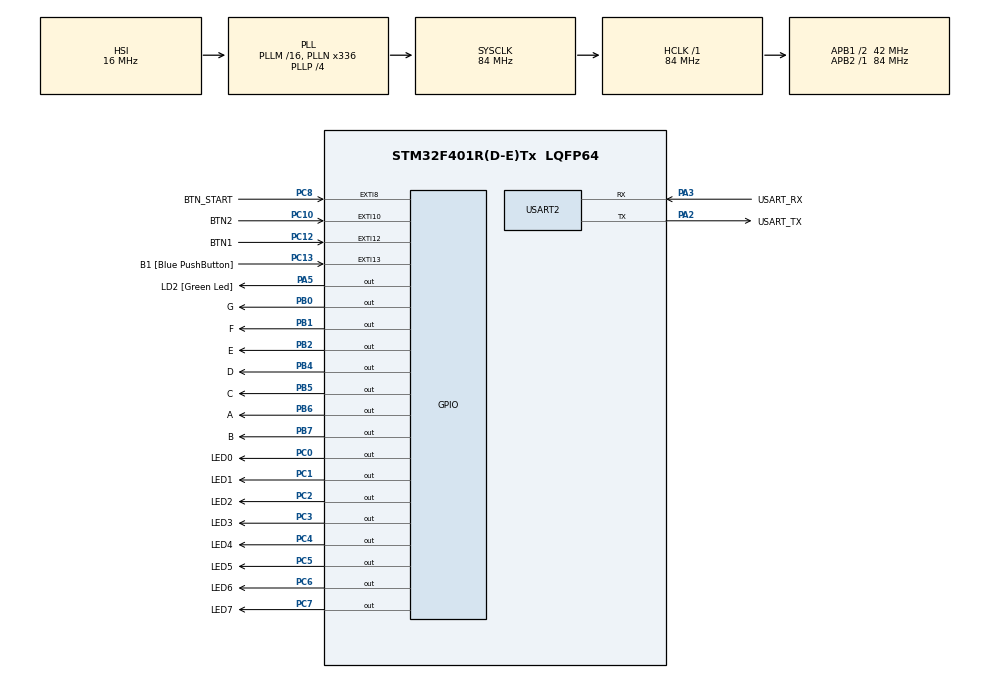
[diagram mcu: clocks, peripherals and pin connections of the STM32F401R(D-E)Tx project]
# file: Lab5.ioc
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Mcu.Family=STM32F4
Mcu.Name=STM32F401R(D-E)Tx
Mcu.Package=LQFP64
NVIC.EXTI15_10_IRQn=true\:0\:0\:false\:false\:true\:true\:true\:true
NVIC.EXTI9_5_IRQn=true\:0\:0\:false\:false\:true\:true\:true\:true
NVIC.PriorityGroup=NVIC_PRIORITYGROUP_4
NVIC.TIM2_IRQn=true\:0\:0\:false\:false\:true\:true\:true\:true
PA13.GPIO_Label=TMS
PA13.Mode=Trace_Asynchronous_SW
PA13.Signal=SYS_JTMS-SWDIO
PA14.GPIO_Label=TCK
PA14.Mode=Trace_Asynchronous_SW
PA14.Signal=SYS_JTCK-SWCLK
PA2.GPIO_Label=USART_TX
PA2.GPIO_Mode=GPIO_MODE_AF_PP
PA2.GPIO_PuPd=GPIO_NOPULL
PA2.GPIO_Speed=GPIO_SPEED_FREQ_LOW
PA2.Mode=Asynchronous
PA2.Signal=USART2_TX
PA3.GPIO_Label=USART_RX
PA3.GPIO_Mode=GPIO_MODE_AF_PP
PA3.GPIO_PuPd=GPIO_NOPULL
PA3.GPIO_Speed=GPIO_SPEED_FREQ_LOW
PA3.Mode=Asynchronous
PA3.Signal=USART2_RX
PA5.GPIO_Label=LD2 [Green Led]
PA5.GPIO_Mode=GPIO_MODE_OUTPUT_PP
PA5.GPIO_PuPd=GPIO_NOPULL
PA5.GPIO_Speed=GPIO_SPEED_FREQ_LOW
PA5.Signal=GPIO_Output
PB0.GPIO_Label=G
PB0.Signal=GPIO_Output
PB1.GPIO_Label=F
PB1.Signal=GPIO_Output
PB2.GPIO_Label=E
PB2.Signal=GPIO_Output
PB3.GPIO_Label=SWO_pt
PB3.Mode=Trace_Asynchronous_SW
PB3.Signal=SYS_JTDO-SWO
PB4.GPIO_Label=D
PB4.Signal=GPIO_Output
PB5.GPIO_Label=C
PB5.Signal=GPIO_Output
PB6.GPIO_Label=A
PB6.Signal=GPIO_Output
PB7.GPIO_Label=B
PB7.Signal=GPIO_Output
PC0.GPIO_Label=LED0
PC0.Signal=GPIO_Output
PC1.GPIO_Label=LED1
PC1.Signal=GPIO_Output
PC10.GPIO_Label=BTN2
PC10.GPIO_ModeDefaultEXTI=GPIO_MODE_IT_FALLING
PC10.GPIO_PuPd=GPIO_PULLUP
PC10.Signal=GPXTI10
PC12.GPIO_Label=BTN1
PC12.GPIO_ModeDefaultEXTI=GPIO_MODE_IT_FALLING
PC12.GPIO_PuPd=GPIO_PULLUP
PC12.Signal=GPXTI12
PC13-ANTI_TAMP.GPIO_Label=B1 [Blue PushButton]
PC13-ANTI_TAMP.GPIO_ModeDefaultEXTI=GPIO_MODE_IT_FALLING
PC13-ANTI_TAMP.GPIO_PuPd=GPIO_PULLUP
PC13-ANTI_TAMP.Signal=GPXTI13
PC14-OSC32_IN.Mode=LSE-External-Oscillator
PC14-OSC32_IN.Signal=RCC_OSC32_IN
PC15-OSC32_OUT.Mode=LSE-External-Oscillator
PC15-OSC32_OUT.Signal=RCC_OSC32_OUT
PC2.GPIO_Label=LED2
PC2.Signal=GPIO_Output
PC3.GPIO_Label=LED3
PC3.Signal=GPIO_Output
PC4.GPIO_Label=LED4
PC4.Signal=GPIO_Output
PC5.GPIO_Label=LED5
PC5.Signal=GPIO_Output
PC6.GPIO_Label=LED6
PC6.Signal=GPIO_Output
PC7.GPIO_Label=LED7
PC7.Signal=GPIO_Output
PC8.GPIO_Label=BTN_START
PC8.GPIO_ModeDefaultEXTI=GPIO_MODE_IT_FALLING
PC8.GPIO_PuPd=GPIO_PULLUP
PC8.Signal=GPXTI8
PH0\ -\ OSC_IN.Mode=HSE-External-Clock-Source
PH0\ -\ OSC_IN.Signal=RCC_OSC_IN
PH1\ -\ OSC_OUT.Mode=HSE-External-Clock-Source
PH1\ -\ OSC_OUT.Signal=RCC_OSC_OUT
ProjectManager.HeapSize=0x200
ProjectManager.StackSize=0x400
ProjectManager.TargetToolchain=STM32CubeIDE
RCC.48MHZClocksFreq_Value=48000000
RCC.AHBFreq_Value=84000000
RCC.APB1CLKDivider=RCC_HCLK_DIV2
RCC.APB1Freq_Value=42000000
RCC.APB1TimFreq_Value=84000000
RCC.APB2Freq_Value=84000000
RCC.APB2TimFreq_Value=84000000
RCC.CortexFreq_Value=84000000
RCC.HCLKFreq_Value=84000000
RCC.HSE_VALUE=8000000
RCC.HSI_VALUE=16000000
RCC.PLLN=336
RCC.PLLP=RCC_PLLP_DIV4
RCC.PLLQ=7
RCC.SYSCLKFreq_VALUE=84000000
RCC.SYSCLKSource=RCC_SYSCLKSOURCE_PLLCLK
RCC.VCOOutputFreq_Value=336000000
TIM2.Period=9999
TIM2.Prescaler=8399
USART2.VirtualMode=VM_ASYNC
VP_TIM2_VS_ClockSourceINT.Mode=Internal
board=NUCLEO-F401RE

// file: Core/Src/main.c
/* USER CODE BEGIN Header */
/**
  ******************************************************************************
  * @file           : main.c
  * @brief          : Main program body
  ******************************************************************************
  * @attention
  *
  * Copyright (c) 2026 STMicroelectronics.
  * All rights reserved.
  *
  * This software is licensed under terms that can be found in the LICENSE file
  * in the root directory of this software component.
  * If no LICENSE file comes with this software, it is provided AS-IS.
  *
  ******************************************************************************
  */
/* USER CODE END Header */
#include "main.h"

/* USER CODE BEGIN Includes */
#include "stdint.h"
/* USER CODE END Includes */

TIM_HandleTypeDef htim2;

UART_HandleTypeDef huart2;

/* USER CODE BEGIN PV */
volatile uint8_t contador1 = 0;
volatile uint8_t contador2 = 0;
volatile uint8_t start_flag=0;
volatile uint8_t count_rf=5;
/* USER CODE END PV */

void SystemClock_Config(void);
static void MX_GPIO_Init(void);
static void MX_USART2_UART_Init(void);
static void MX_TIM2_Init(void);

int main(void)
{

  /* MCU Configuration--------------------------------------------------------*/

  /* Reset of all peripherals, Initializes the Flash interface and the Systick. */
  HAL_Init();

  /* Configure the system clock */
  SystemClock_Config();

  /* Initialize all configured peripherals */
  MX_GPIO_Init();
  MX_USART2_UART_Init();
  MX_TIM2_Init();
  /* USER CODE BEGIN 2 */
  HAL_TIM_Base_Start_IT(&htim2);
  /* USER CODE END 2 */

  /* Infinite loop */
  /* USER CODE BEGIN WHILE */
  while (1)
  {
	  if (start_flag==0){
		  GPIOB->ODR = (GPIOB->ODR & 0xFF00) | 0x73;
	  }

	  else if (start_flag==1){
		  switch(count_rf){
		  case 0:
			  GPIOB->ODR = (GPIOB->ODR & 0xFF00) | 0xF6;
			  break;
		  case 1:
			  GPIOB->ODR = (GPIOB->ODR & 0xFF00) | 0xA0;
			  break;
		  case 2:
			  GPIOB->ODR = (GPIOB->ODR & 0xFF00) | 0xD5;
			  break;
		  case 3:
			  GPIOB->ODR = (GPIOB->ODR & 0xFF00) | 0xF1;
			  break;
		  case 4:
			  GPIOB->ODR = (GPIOB->ODR & 0xFF00) | 0xA3;
			  break;
		  case 5:
			  GPIOB->ODR = (GPIOB->ODR & 0xFF00) | 0x73;
			  break;
		  default:
			  break;
		  }
		  GPIOC->ODR = (GPIOC->ODR & 0xFF00);
	  }

	  else if (start_flag==2){

		  switch(contador1)
		 		{
		  case 0:
			  HAL_GPIO_WritePin(LED0_GPIO_Port, LED0_Pin, 0);
			  HAL_GPIO_WritePin(LED1_GPIO_Port, LED1_Pin, 0);
			  HAL_GPIO_WritePin(LED2_GPIO_Port, LED2_Pin, 0);
			  HAL_GPIO_WritePin(LED3_GPIO_Port, LED3_Pin, 0);
			  break;
		 case 1:
			 HAL_GPIO_WritePin(LED0_GPIO_Port, LED0_Pin, 1);
			 HAL_GPIO_WritePin(LED1_GPIO_Port, LED1_Pin, 0);
			 HAL_GPIO_WritePin(LED2_GPIO_Port, LED2_Pin, 0);
			 HAL_GPIO_WritePin(LED3_GPIO_Port, LED3_Pin, 0);
			 break;

		case 2:
			 HAL_GPIO_WritePin(LED0_GPIO_Port, LED0_Pin, 0);
			 HAL_GPIO_WritePin(LED1_GPIO_Port, LED1_Pin, 1);
			 HAL_GPIO_WritePin(LED2_GPIO_Port, LED2_Pin, 0);
			 HAL_GPIO_WritePin(LED3_GPIO_Port, LED3_Pin, 0);
			 break;

		case 3:
			HAL_GPIO_WritePin(LED0_GPIO_Port, LED0_Pin, 0);
			HAL_GPIO_WritePin(LED1_GPIO_Port, LED1_Pin, 0);
			HAL_GPIO_WritePin(LED2_GPIO_Port, LED2_Pin, 1);
			HAL_GPIO_WritePin(LED3_GPIO_Port, LED3_Pin, 0);
			break;

		case 4:
			HAL_GPIO_WritePin(LED0_GPIO_Port, LED0_Pin, 0);
			HAL_GPIO_WritePin(LED1_GPIO_Port, LED1_Pin, 0);
			HAL_GPIO_WritePin(LED2_GPIO_Port, LED2_Pin, 0);
			HAL_GPIO_WritePin(LED3_GPIO_Port, LED3_Pin, 1);
			start_flag=3;
			break;

		default:
			break;
		}

		  switch(contador2)
		{
		  case 0:
			 HAL_GPIO_WritePin(LED4_GPIO_Port, LED4_Pin, 0);
			 HAL_GPIO_WritePin(LED5_GPIO_Port, LED5_Pin, 0);
			 HAL_GPIO_WritePin(LED6_GPIO_Port, LED6_Pin, 0);
			 HAL_GPIO_WritePin(LED7_GPIO_Port, LED7_Pin, 0);
			 break;
		 case 1:
			 HAL_GPIO_WritePin(LED4_GPIO_Port, LED4_Pin, 1);
			 HAL_GPIO_WritePin(LED5_GPIO_Port, LED5_Pin, 0);
			 HAL_GPIO_WritePin(LED6_GPIO_Port, LED6_Pin, 0);
			 HAL_GPIO_WritePin(LED7_GPIO_Port, LED7_Pin, 0);
			 break;

		 case 2:
			 HAL_GPIO_WritePin(LED4_GPIO_Port, LED4_Pin, 0);
			 HAL_GPIO_WritePin(LED5_GPIO_Port, LED5_Pin, 1);
			 HAL_GPIO_WritePin(LED6_GPIO_Port, LED6_Pin, 0);
			 HAL_GPIO_WritePin(LED7_GPIO_Port, LED7_Pin, 0);
			 break;

		 case 3:
			 HAL_GPIO_WritePin(LED4_GPIO_Port, LED4_Pin, 0);
			 HAL_GPIO_WritePin(LED5_GPIO_Port, LED5_Pin, 0);
			 HAL_GPIO_WritePin(LED6_GPIO_Port, LED6_Pin, 1);
			 HAL_GPIO_WritePin(LED7_GPIO_Port, LED7_Pin, 0);
			 break;

		case 4:
			 HAL_GPIO_WritePin(LED4_GPIO_Port, LED4_Pin, 0);
			 HAL_GPIO_WritePin(LED5_GPIO_Port, LED5_Pin, 0);
			 HAL_GPIO_WritePin(LED6_GPIO_Port, LED6_Pin, 0);
			 HAL_GPIO_WritePin(LED7_GPIO_Port, LED7_Pin, 1);
			 start_flag=4;
			 break;
		default:
			break;
		}

	  }

	  else if (start_flag==3){
		  GPIOB->ODR = (GPIOB->ODR & 0xFF00) | 0xA0;
		  GPIOC->ODR = (GPIOC->ODR & 0xFFF0) | 0x0F;
	  }
	  else if (start_flag==4){
		  GPIOB->ODR = (GPIOC->ODR & 0xFF00) | 0xD5;
		  GPIOC->ODR = (GPIOC->ODR & 0xFF0F) | 0xF0;
	  }

    /* USER CODE END WHILE */

  }
}

void SystemClock_Config(void)
{
  RCC_OscInitTypeDef RCC_OscInitStruct = {0};
  RCC_ClkInitTypeDef RCC_ClkInitStruct = {0};

  /** Configure the main internal regulator output voltage
  */
  __HAL_RCC_PWR_CLK_ENABLE();
  __HAL_PWR_VOLTAGESCALING_CONFIG(PWR_REGULATOR_VOLTAGE_SCALE2);

  /** Initializes the RCC Oscillators according to the specified parameters
  * in the RCC_OscInitTypeDef structure.
  */
  RCC_OscInitStruct.OscillatorType = RCC_OSCILLATORTYPE_HSI;
  RCC_OscInitStruct.HSIState = RCC_HSI_ON;
  RCC_OscInitStruct.HSICalibrationValue = RCC_HSICALIBRATION_DEFAULT;
  RCC_OscInitStruct.PLL.PLLState = RCC_PLL_ON;
  RCC_OscInitStruct.PLL.PLLSource = RCC_PLLSOURCE_HSI;
  RCC_OscInitStruct.PLL.PLLM = 16;
  RCC_OscInitStruct.PLL.PLLN = 336;
  RCC_OscInitStruct.PLL.PLLP = RCC_PLLP_DIV4;
  RCC_OscInitStruct.PLL.PLLQ = 7;
  if (HAL_RCC_OscConfig(&RCC_OscInitStruct) != HAL_OK)
  {
    Error_Handler();
  }

  /** Initializes the CPU, AHB and APB buses clocks
  */
  RCC_ClkInitStruct.ClockType = RCC_CLOCKTYPE_HCLK|RCC_CLOCKTYPE_SYSCLK
                              |RCC_CLOCKTYPE_PCLK1|RCC_CLOCKTYPE_PCLK2;
  RCC_ClkInitStruct.SYSCLKSource = RCC_SYSCLKSOURCE_PLLCLK;
  RCC_ClkInitStruct.AHBCLKDivider = RCC_SYSCLK_DIV1;
  RCC_ClkInitStruct.APB1CLKDivider = RCC_HCLK_DIV2;
  RCC_ClkInitStruct.APB2CLKDivider = RCC_HCLK_DIV1;

  if (HAL_RCC_ClockConfig(&RCC_ClkInitStruct, FLASH_LATENCY_2) != HAL_OK)
  {
    Error_Handler();
  }
}

static void MX_TIM2_Init(void)
{

  TIM_ClockConfigTypeDef sClockSourceConfig = {0};
  TIM_MasterConfigTypeDef sMasterConfig = {0};

  htim2.Instance = TIM2;
  htim2.Init.Prescaler = 8399;
  htim2.Init.CounterMode = TIM_COUNTERMODE_UP;
  htim2.Init.Period = 9999;
  htim2.Init.ClockDivision = TIM_CLOCKDIVISION_DIV1;
  htim2.Init.AutoReloadPreload = TIM_AUTORELOAD_PRELOAD_DISABLE;
  if (HAL_TIM_Base_Init(&htim2) != HAL_OK)
  {
    Error_Handler();
  }
  sClockSourceConfig.ClockSource = TIM_CLOCKSOURCE_INTERNAL;
  if (HAL_TIM_ConfigClockSource(&htim2, &sClockSourceConfig) != HAL_OK)
  {
    Error_Handler();
  }
  sMasterConfig.MasterOutputTrigger = TIM_TRGO_RESET;
  sMasterConfig.MasterSlaveMode = TIM_MASTERSLAVEMODE_DISABLE;
  if (HAL_TIMEx_MasterConfigSynchronization(&htim2, &sMasterConfig) != HAL_OK)
  {
    Error_Handler();
  }

}

static void MX_USART2_UART_Init(void)
{

  huart2.Instance = USART2;
  huart2.Init.BaudRate = 115200;
  huart2.Init.WordLength = UART_WORDLENGTH_8B;
  huart2.Init.StopBits = UART_STOPBITS_1;
  huart2.Init.Parity = UART_PARITY_NONE;
  huart2.Init.Mode = UART_MODE_TX_RX;
  huart2.Init.HwFlowCtl = UART_HWCONTROL_NONE;
  huart2.Init.OverSampling = UART_OVERSAMPLING_16;
  if (HAL_UART_Init(&huart2) != HAL_OK)
  {
    Error_Handler();
  }

}

static void MX_GPIO_Init(void)
{
  GPIO_InitTypeDef GPIO_InitStruct = {0};

  /* GPIO Ports Clock Enable */
  __HAL_RCC_GPIOC_CLK_ENABLE();
  __HAL_RCC_GPIOH_CLK_ENABLE();
  __HAL_RCC_GPIOA_CLK_ENABLE();
  __HAL_RCC_GPIOB_CLK_ENABLE();

  /*Configure GPIO pin Output Level */
  HAL_GPIO_WritePin(GPIOC, LED0_Pin|LED1_Pin|LED2_Pin|LED3_Pin
                          |LED4_Pin|LED5_Pin|LED6_Pin|LED7_Pin, GPIO_PIN_RESET);

  /*Configure GPIO pin Output Level */
  HAL_GPIO_WritePin(LD2_GPIO_Port, LD2_Pin, GPIO_PIN_RESET);

  /*Configure GPIO pin Output Level */
  HAL_GPIO_WritePin(GPIOB, G_Pin|F_Pin|E_Pin|D_Pin
                          |C_Pin|A_Pin|B_Pin, GPIO_PIN_RESET);

  /*Configure GPIO pins : B1_Pin BTN_START_Pin BTN2_Pin BTN1_Pin */
  GPIO_InitStruct.Pin = B1_Pin|BTN_START_Pin|BTN2_Pin|BTN1_Pin;
  GPIO_InitStruct.Mode = GPIO_MODE_IT_FALLING;
  GPIO_InitStruct.Pull = GPIO_PULLUP;
  HAL_GPIO_Init(GPIOC, &GPIO_InitStruct);

  /*Configure GPIO pins : LED0_Pin LED1_Pin LED2_Pin LED3_Pin
                           LED4_Pin LED5_Pin LED6_Pin LED7_Pin */
  GPIO_InitStruct.Pin = LED0_Pin|LED1_Pin|LED2_Pin|LED3_Pin
                          |LED4_Pin|LED5_Pin|LED6_Pin|LED7_Pin;
  GPIO_InitStruct.Mode = GPIO_MODE_OUTPUT_PP;
  GPIO_InitStruct.Pull = GPIO_NOPULL;
  GPIO_InitStruct.Speed = GPIO_SPEED_FREQ_LOW;
  HAL_GPIO_Init(GPIOC, &GPIO_InitStruct);

  /*Configure GPIO pin : LD2_Pin */
  GPIO_InitStruct.Pin = LD2_Pin;
  GPIO_InitStruct.Mode = GPIO_MODE_OUTPUT_PP;
  GPIO_InitStruct.Pull = GPIO_NOPULL;
  GPIO_InitStruct.Speed = GPIO_SPEED_FREQ_LOW;
  HAL_GPIO_Init(LD2_GPIO_Port, &GPIO_InitStruct);

  /*Configure GPIO pins : G_Pin F_Pin E_Pin D_Pin
                           C_Pin A_Pin B_Pin */
  GPIO_InitStruct.Pin = G_Pin|F_Pin|E_Pin|D_Pin
                          |C_Pin|A_Pin|B_Pin;
  GPIO_InitStruct.Mode = GPIO_MODE_OUTPUT_PP;
  GPIO_InitStruct.Pull = GPIO_NOPULL;
  GPIO_InitStruct.Speed = GPIO_SPEED_FREQ_LOW;
  HAL_GPIO_Init(GPIOB, &GPIO_InitStruct);

  /* EXTI interrupt init*/
  HAL_NVIC_SetPriority(EXTI9_5_IRQn, 0, 0);
  HAL_NVIC_EnableIRQ(EXTI9_5_IRQn);

  HAL_NVIC_SetPriority(EXTI15_10_IRQn, 0, 0);
  HAL_NVIC_EnableIRQ(EXTI15_10_IRQn);

}

/* USER CODE BEGIN 4 */
void HAL_GPIO_EXTI_Callback(uint16_t GPIO_Pin){

	if (start_flag==2){
		if (GPIO_Pin == BTN1_Pin){
			contador1++;
		}
		else if (GPIO_Pin == BTN2_Pin){
			contador2++;
		}
	}

	if (GPIO_Pin == B1_Pin){
		start_flag=1;
		contador1=0;
		contador2=0;
		count_rf=5;
	}
}

void HAL_TIM_PeriodElapsedCallback(TIM_HandleTypeDef *htim){
	if(htim->Instance == TIM2)
	    {
	        if(start_flag == 1)
	        {
	            if(count_rf > 0)
	            {
	                count_rf--;   // Decrementa cada 1 segundo
	            }
	            else
	            {
	                start_flag = 2;                // Detener lógica
	            }
	        }
	    }
}
/* USER CODE END 4 */

void Error_Handler(void)
{
  __disable_irq();
  while (1)
  {
  }
}
